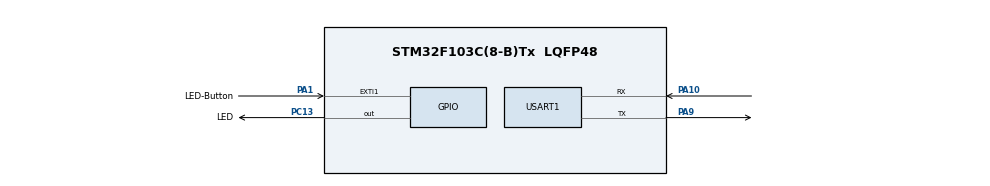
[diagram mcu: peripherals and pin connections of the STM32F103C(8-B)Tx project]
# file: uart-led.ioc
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Mcu.Family=STM32F1
Mcu.Name=STM32F103C(8-B)Tx
Mcu.Package=LQFP48
NVIC.EXTI1_IRQn=true\:1\:1\:true\:false\:true\:true\:true
NVIC.PriorityGroup=NVIC_PRIORITYGROUP_2
NVIC.USART1_IRQn=true\:0\:0\:false\:false\:true\:true\:true
PA1.GPIO_Label=LED-Button
PA1.GPIO_ModeDefaultEXTI=GPIO_MODE_IT_FALLING
PA1.GPIO_PuPd=GPIO_PULLUP
PA1.Signal=GPXTI1
PA10.Mode=Asynchronous
PA10.Signal=USART1_RX
PA13.Mode=Serial_Wire
PA13.Signal=SYS_JTMS-SWDIO
PA14.Mode=Serial_Wire
PA14.Signal=SYS_JTCK-SWCLK
PA9.Mode=Asynchronous
PA9.Signal=USART1_TX
PC13-TAMPER-RTC.GPIO_Label=LED
PC13-TAMPER-RTC.Signal=GPIO_Output
ProjectManager.HeapSize=0x200
ProjectManager.StackSize=0x400
ProjectManager.TargetToolchain=MDK-ARM V5
RCC.APB1Freq_Value=8000000
RCC.APB2Freq_Value=8000000
USART1.VirtualMode=VM_ASYNC
board=custom

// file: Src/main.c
/* USER CODE BEGIN Header */
/**
  ******************************************************************************
  * @file           : main.c
  * @brief          : Main program body
  ******************************************************************************
  * @attention
  *
  * <h2><center>&copy; Copyright (c) 2019 STMicroelectronics.
  * All rights reserved.</center></h2>
  *
  * This software component is licensed by ST under BSD 3-Clause license,
  * the "License"; You may not use this file except in compliance with the
  * License. You may obtain a copy of the License at:
  *                        opensource.org/licenses/BSD-3-Clause
  *
  ******************************************************************************
  */
	/*串口重定向 与串口中断回显+ 按键中断PC13最小开发板LED灯反转  PPP*/
/* USER CODE END Header */

#include "main.h"
/* USER CODE BEGIN Includes */

#include "string.h"
#include "stdio.h"//在 stm32f1xx_hal_msp.c 重定向printf
/* USER CODE END Includes */

UART_HandleTypeDef huart1;

void SystemClock_Config(void);
static void MX_GPIO_Init(void);
static void MX_USART1_UART_Init(void);

/* USER CODE BEGIN 0 */

	uint8_t Rx_Buffer[1];/*接收缓存*/
	uint8_t Tx_Buffer[100];/*发送缓存*/

/* USER CODE END 0 */

int main(void)
{

  /* MCU Configuration--------------------------------------------------------*/

  /* Reset of all peripherals, Initializes the Flash interface and the Systick. */
  HAL_Init();

  /* Configure the system clock */
  SystemClock_Config();

  /* Initialize all configured peripherals */
  MX_GPIO_Init();
  MX_USART1_UART_Init();
  /* USER CODE BEGIN 2 */

	memset(Tx_Buffer,0,sizeof(Tx_Buffer));/*发送提示信息*/
	char* temp_TxBuf;
	temp_TxBuf = "HAL_UART_Transmit:你可以开始发送数据了\n\0";
	memcpy(Tx_Buffer,temp_TxBuf,strlen(temp_TxBuf));
	HAL_UART_Transmit(&huart1, Tx_Buffer, strlen(temp_TxBuf) , 1000);
	memset(Tx_Buffer,0,sizeof(Tx_Buffer));

	temp_TxBuf = "HAL_UART_Transmit:单片机会回显\n\0";
	memcpy(Tx_Buffer,temp_TxBuf,strlen(temp_TxBuf));
	HAL_UART_Transmit(&huart1, Tx_Buffer, strlen(temp_TxBuf) , 1000);
	memset(Tx_Buffer,0,sizeof(Tx_Buffer));

	printf("printf:使用printf重定向 而不是uatr函数发送了\n");
	//HAL_UART_Transmit();

	HAL_UART_Receive_IT(&huart1, Rx_Buffer,  1 );/*开启中断接收*/

  /* USER CODE END 2 */

  /* Infinite loop */
  while (1)
  {
  }
}

void SystemClock_Config(void)
{
  RCC_OscInitTypeDef RCC_OscInitStruct = {0};
  RCC_ClkInitTypeDef RCC_ClkInitStruct = {0};

  /** Initializes the CPU, AHB and APB busses clocks
  */
  RCC_OscInitStruct.OscillatorType = RCC_OSCILLATORTYPE_HSI;
  RCC_OscInitStruct.HSIState = RCC_HSI_ON;
  RCC_OscInitStruct.HSICalibrationValue = RCC_HSICALIBRATION_DEFAULT;
  RCC_OscInitStruct.PLL.PLLState = RCC_PLL_NONE;
  if (HAL_RCC_OscConfig(&RCC_OscInitStruct) != HAL_OK)
  {
    Error_Handler();
  }
  /** Initializes the CPU, AHB and APB busses clocks
  */
  RCC_ClkInitStruct.ClockType = RCC_CLOCKTYPE_HCLK|RCC_CLOCKTYPE_SYSCLK
                              |RCC_CLOCKTYPE_PCLK1|RCC_CLOCKTYPE_PCLK2;
  RCC_ClkInitStruct.SYSCLKSource = RCC_SYSCLKSOURCE_HSI;
  RCC_ClkInitStruct.AHBCLKDivider = RCC_SYSCLK_DIV1;
  RCC_ClkInitStruct.APB1CLKDivider = RCC_HCLK_DIV1;
  RCC_ClkInitStruct.APB2CLKDivider = RCC_HCLK_DIV1;

  if (HAL_RCC_ClockConfig(&RCC_ClkInitStruct, FLASH_LATENCY_0) != HAL_OK)
  {
    Error_Handler();
  }
}

static void MX_USART1_UART_Init(void)
{

  huart1.Instance = USART1;
  huart1.Init.BaudRate = 115200;
  huart1.Init.WordLength = UART_WORDLENGTH_8B;
  huart1.Init.StopBits = UART_STOPBITS_1;
  huart1.Init.Parity = UART_PARITY_NONE;
  huart1.Init.Mode = UART_MODE_TX_RX;
  huart1.Init.HwFlowCtl = UART_HWCONTROL_NONE;
  huart1.Init.OverSampling = UART_OVERSAMPLING_16;
  if (HAL_UART_Init(&huart1) != HAL_OK)
  {
    Error_Handler();
  }

}

static void MX_GPIO_Init(void)
{
  GPIO_InitTypeDef GPIO_InitStruct = {0};

  /* GPIO Ports Clock Enable */
  __HAL_RCC_GPIOC_CLK_ENABLE();
  __HAL_RCC_GPIOA_CLK_ENABLE();

  /*Configure GPIO pin Output Level */
  HAL_GPIO_WritePin(LED_GPIO_Port, LED_Pin, GPIO_PIN_RESET);

  /*Configure GPIO pin : LED_Pin */
  GPIO_InitStruct.Pin = LED_Pin;
  GPIO_InitStruct.Mode = GPIO_MODE_OUTPUT_PP;
  GPIO_InitStruct.Pull = GPIO_NOPULL;
  GPIO_InitStruct.Speed = GPIO_SPEED_FREQ_LOW;
  HAL_GPIO_Init(LED_GPIO_Port, &GPIO_InitStruct);

  /*Configure GPIO pin : LED_Button_Pin */
  GPIO_InitStruct.Pin = LED_Button_Pin;
  GPIO_InitStruct.Mode = GPIO_MODE_IT_FALLING;
  GPIO_InitStruct.Pull = GPIO_PULLUP;
  HAL_GPIO_Init(LED_Button_GPIO_Port, &GPIO_InitStruct);

  /* EXTI interrupt init*/
  HAL_NVIC_SetPriority(EXTI1_IRQn, 1, 1);
  HAL_NVIC_EnableIRQ(EXTI1_IRQn);

}

/* USER CODE BEGIN 4 */
 void HAL_GPIO_EXTI_Callback(uint16_t GPIO_Pin)
{
	/*LED_Button 中断函数*/
	if(GPIO_Pin==LED_Button_Pin)
	{
		HAL_Delay(100);

		if(HAL_GPIO_ReadPin(LED_Button_GPIO_Port,LED_Button_Pin)== GPIO_PIN_RESET)
		{
			HAL_GPIO_TogglePin(LED_GPIO_Port,LED_Pin);
			uint8_t temp_buf[]= "Button-on\n" ;
			HAL_UART_Transmit(&huart1, temp_buf, strlen((char*)temp_buf) , 1000);

		HAL_Delay(50);

		printf("12345\n");

		}

	}
}
/*接收中断 回调函数*/
 void HAL_UART_RxCpltCallback(UART_HandleTypeDef *huart)
{
   /*发送 接收到得数据*/
	//HAL_UART_Transmit();阻塞发送函数
	//HAL_UART_Transmit_IT( &huart1, Rx_Buffer,  1);//太快了掉包
  HAL_UART_Transmit( &huart1, Rx_Buffer,  1,0  );

			/*开启中断接收*/
	HAL_UART_Receive_IT(&huart1, Rx_Buffer,  1 );
}

/* USER CODE END 4 */

void Error_Handler(void)
{
}

/************************ (C) COPYRIGHT STMicroelectronics *****END OF FILE****/
